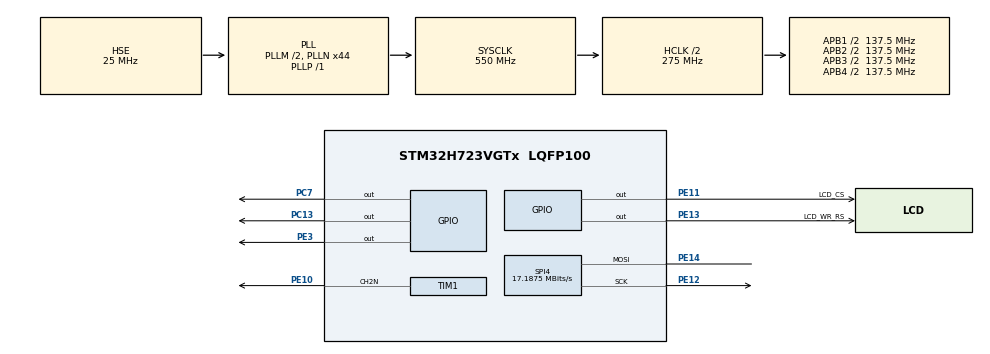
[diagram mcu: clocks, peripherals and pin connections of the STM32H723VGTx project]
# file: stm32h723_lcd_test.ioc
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Mcu.Family=STM32H7
Mcu.Name=STM32H723VGTx
Mcu.Package=LQFP100
NVIC.PriorityGroup=NVIC_PRIORITYGROUP_4
PA13(JTMS/SWDIO).Mode=Serial_Wire
PA13(JTMS/SWDIO).Signal=DEBUG_JTMS-SWDIO
PA14(JTCK/SWCLK).Mode=Serial_Wire
PA14(JTCK/SWCLK).Signal=DEBUG_JTCK-SWCLK
PC13.Signal=GPIO_Output
PC14-OSC32_IN.Mode=LSE-External-Oscillator
PC14-OSC32_IN.Signal=RCC_OSC32_IN
PC15-OSC32_OUT.Mode=LSE-External-Oscillator
PC15-OSC32_OUT.Signal=RCC_OSC32_OUT
PC7.Signal=GPIO_Output
PE10.Mode=PWM Generation2 CH2N
PE10.Signal=TIM1_CH2N
PE11.GPIO_Label=LCD_CS
PE11.Signal=GPIO_Output
PE12.Mode=Simplex_Bidirectional_Master
PE12.Signal=SPI4_SCK
PE13.GPIO_Label=LCD_WR_RS
PE13.Signal=GPIO_Output
PE14.Mode=Simplex_Bidirectional_Master
PE14.Signal=SPI4_MOSI
PE3.Signal=GPIO_Output
PH0-OSC_IN.Mode=HSE-External-Oscillator
PH0-OSC_IN.Signal=RCC_OSC_IN
PH1-OSC_OUT.Mode=HSE-External-Oscillator
PH1-OSC_OUT.Signal=RCC_OSC_OUT
ProjectManager.HeapSize=0x200
ProjectManager.StackSize=0x400
ProjectManager.TargetToolchain=STM32CubeIDE
RCC.ADCFreq_Value=50390625
RCC.APB1Freq_Value=137500000
RCC.APB2Freq_Value=137500000
RCC.APB3Freq_Value=137500000
RCC.APB4Freq_Value=137500000
RCC.CortexFreq_Value=550000000
RCC.D1PPRE=RCC_APB3_DIV2
RCC.D2PPRE1=RCC_APB1_DIV2
RCC.D2PPRE2=RCC_APB2_DIV2
RCC.D3PPRE=RCC_APB4_DIV2
RCC.DIVM1=2
RCC.DIVN1=44
RCC.DIVP1=1
RCC.HCLKFreq_Value=275000000
RCC.HPRE=RCC_HCLK_DIV2
RCC.PLLFRACN=0
RCC.PLLSourceVirtual=RCC_PLLSOURCE_HSE
RCC.RTCClockSelection=RCC_RTCCLKSOURCE_LSE
RCC.SYSCLKFreq_VALUE=550000000
RCC.SYSCLKSource=RCC_SYSCLKSOURCE_PLLCLK
RCC.USBFreq_Value=275000000
RTC.Hours=12
RTC.Year=23
SPI4.BaudRatePrescaler=SPI_BAUDRATEPRESCALER_8
SPI4.CalculateBaudRate=17.1875 MBits/s
SPI4.DataSize=SPI_DATASIZE_8BIT
SPI4.Direction=SPI_DIRECTION_1LINE
SPI4.Mode=SPI_MODE_MASTER
SPI4.VirtualType=VM_MASTER
TIM1.Channel-PWM\ Generation2\ CH2N=TIM_CHANNEL_2
TIM1.OCNPolarity_2=TIM_OCNPOLARITY_LOW
TIM1.Period=1000-1
TIM1.Prescaler=27-1
VP_RTC_VS_RTC_Activate.Mode=RTC_Enabled
VP_RTC_VS_RTC_Calendar.Mode=RTC_Calendar
board=custom

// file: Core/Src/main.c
/* USER CODE BEGIN Header */
/**
  ******************************************************************************
  * @file           : main.c
  * @brief          : Main program body
  ******************************************************************************
  * @attention
  *
  * Copyright (c) 2024 STMicroelectronics.
  * All rights reserved.
  *
  * This software is licensed under terms that can be found in the LICENSE file
  * in the root directory of this software component.
  * If no LICENSE file comes with this software, it is provided AS-IS.
  *
  ******************************************************************************
  */
/* USER CODE END Header */
#include "main.h"
#include "rtc.h"
#include "spi.h"
#include "tim.h"
#include "gpio.h"

/* USER CODE BEGIN Includes */
#include "board.h"
#include "lcd.h"
/* USER CODE END Includes */

void SystemClock_Config(void);

/* USER CODE BEGIN 0 */
/**
  * @brief  Get the current time and date.
  * @param
  * @retval None
  */
static void RTC_CalendarShow(RTC_DateTypeDef *sdatestructureget,RTC_TimeTypeDef *stimestructureget)
{
  /* Both time and date must be obtained or RTC cannot be read next time */
  /* Get the RTC current Time */
  HAL_RTC_GetTime(&hrtc, stimestructureget, RTC_FORMAT_BIN);
  /* Get the RTC current Date */
  HAL_RTC_GetDate(&hrtc, sdatestructureget, RTC_FORMAT_BIN);
}
/* USER CODE END 0 */

int main(void)
{

  /* MCU Configuration--------------------------------------------------------*/

  /* Reset of all peripherals, Initializes the Flash interface and the Systick. */
  HAL_Init();

  /* Configure the system clock */
  SystemClock_Config();

  /* Initialize all configured peripherals */
  MX_GPIO_Init();
  MX_RTC_Init();
  MX_SPI4_Init();
  MX_TIM1_Init();
  /* USER CODE BEGIN 2 */
	board_button_init();
	board_led_init();

	LCD_Test();

	uint8_t text[20];
	RTC_DateTypeDef sdatestructureget;
	RTC_TimeTypeDef stimestructureget;

	uint32_t tick_now,tick_time;

	tick_now = HAL_GetTick();
	tick_time = tick_now;
  /* USER CODE END 2 */

  /* Infinite loop */
  while (1)
  {

    /* USER CODE BEGIN 3 */
	  HAL_GPIO_TogglePin(GPIOE, GPIO_PIN_3);
	  HAL_GPIO_TogglePin(GPIOC, GPIO_PIN_13);
	  HAL_GPIO_WritePin(GPIOC, GPIO_PIN_7, RESET);
		tick_now = HAL_GetTick();

		if(tick_now > tick_time)
		{
			tick_time = tick_now + 500;

			board_led_set(1);

			RTC_CalendarShow(&sdatestructureget,&stimestructureget);

			if (stimestructureget.SubSeconds > 128)
				sprintf((char *)&text,"Time: %02d:%02d", stimestructureget.Hours, stimestructureget.Minutes);
			else
				sprintf((char *)&text,"Time: %02d %02d", stimestructureget.Hours, stimestructureget.Minutes);

			LCD_ShowString(4, 58, 160, 16, 16, text);

			sprintf((char *)&text,"Tick: %d ms",HAL_GetTick());
			LCD_ShowString(4, 74, 160, 16, 16,text);

			board_led_set(0);
		}

  }
  /* USER CODE END 3 */
}

void SystemClock_Config(void)
{
  RCC_OscInitTypeDef RCC_OscInitStruct = {0};
  RCC_ClkInitTypeDef RCC_ClkInitStruct = {0};

  /** Supply configuration update enable
  */
  HAL_PWREx_ConfigSupply(PWR_LDO_SUPPLY);

  /** Configure the main internal regulator output voltage
  */
  __HAL_PWR_VOLTAGESCALING_CONFIG(PWR_REGULATOR_VOLTAGE_SCALE0);

  while(!__HAL_PWR_GET_FLAG(PWR_FLAG_VOSRDY)) {}

  /** Configure LSE Drive Capability
  */
  HAL_PWR_EnableBkUpAccess();
  __HAL_RCC_LSEDRIVE_CONFIG(RCC_LSEDRIVE_LOW);

  /** Initializes the RCC Oscillators according to the specified parameters
  * in the RCC_OscInitTypeDef structure.
  */
  RCC_OscInitStruct.OscillatorType = RCC_OSCILLATORTYPE_HSE|RCC_OSCILLATORTYPE_LSE;
  RCC_OscInitStruct.HSEState = RCC_HSE_ON;
  RCC_OscInitStruct.LSEState = RCC_LSE_ON;
  RCC_OscInitStruct.PLL.PLLState = RCC_PLL_ON;
  RCC_OscInitStruct.PLL.PLLSource = RCC_PLLSOURCE_HSE;
  RCC_OscInitStruct.PLL.PLLM = 2;
  RCC_OscInitStruct.PLL.PLLN = 44;
  RCC_OscInitStruct.PLL.PLLP = 1;
  RCC_OscInitStruct.PLL.PLLQ = 2;
  RCC_OscInitStruct.PLL.PLLR = 2;
  RCC_OscInitStruct.PLL.PLLRGE = RCC_PLL1VCIRANGE_3;
  RCC_OscInitStruct.PLL.PLLVCOSEL = RCC_PLL1VCOWIDE;
  RCC_OscInitStruct.PLL.PLLFRACN = 0;
  if (HAL_RCC_OscConfig(&RCC_OscInitStruct) != HAL_OK)
  {
    Error_Handler();
  }

  /** Initializes the CPU, AHB and APB buses clocks
  */
  RCC_ClkInitStruct.ClockType = RCC_CLOCKTYPE_HCLK|RCC_CLOCKTYPE_SYSCLK
                              |RCC_CLOCKTYPE_PCLK1|RCC_CLOCKTYPE_PCLK2
                              |RCC_CLOCKTYPE_D3PCLK1|RCC_CLOCKTYPE_D1PCLK1;
  RCC_ClkInitStruct.SYSCLKSource = RCC_SYSCLKSOURCE_PLLCLK;
  RCC_ClkInitStruct.SYSCLKDivider = RCC_SYSCLK_DIV1;
  RCC_ClkInitStruct.AHBCLKDivider = RCC_HCLK_DIV2;
  RCC_ClkInitStruct.APB3CLKDivider = RCC_APB3_DIV2;
  RCC_ClkInitStruct.APB1CLKDivider = RCC_APB1_DIV2;
  RCC_ClkInitStruct.APB2CLKDivider = RCC_APB2_DIV2;
  RCC_ClkInitStruct.APB4CLKDivider = RCC_APB4_DIV2;

  if (HAL_RCC_ClockConfig(&RCC_ClkInitStruct, FLASH_LATENCY_3) != HAL_OK)
  {
    Error_Handler();
  }
}

void Error_Handler(void)
{
  __disable_irq();
  while (1)
  {
  }
}
